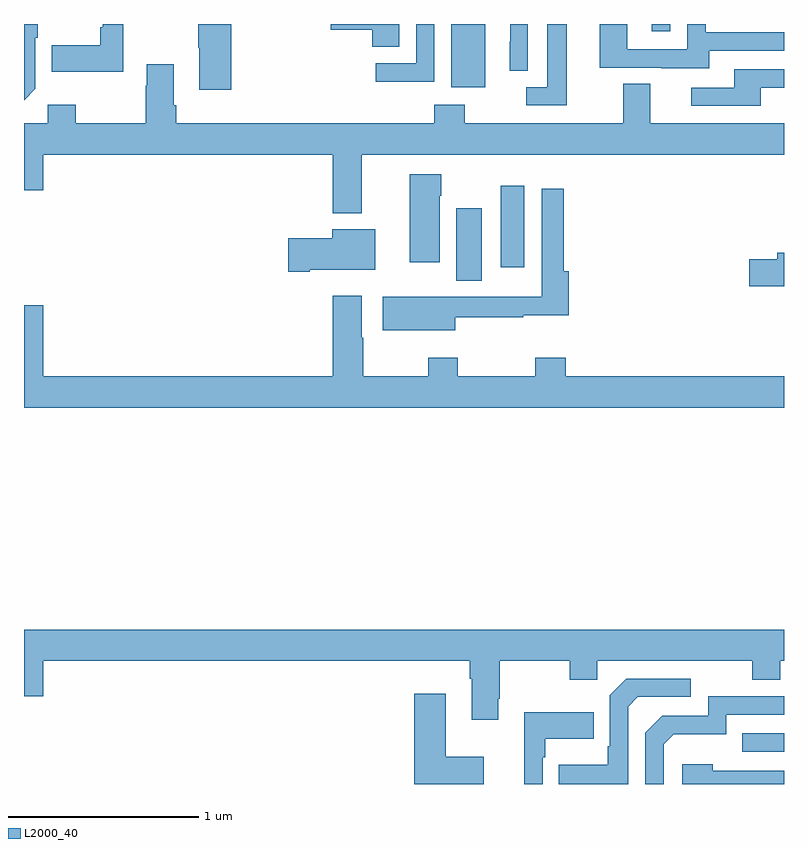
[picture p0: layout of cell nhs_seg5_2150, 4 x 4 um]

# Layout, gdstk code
import gdstk
lib = gdstk.Library(unit=1e-6, precision=1e-09)
def R(c, l, rs):  # rectangles x0, y0, x1, y1
    for r in rs: c.add(gdstk.rectangle(r[:2], r[2:], *l))
def P(c, l, *ps):  # polygons
    for p in ps: c.add(gdstk.Polygon(p, *l))
L2000_40 = (2000, 40)

nhs_seg5_2150 = lib.new_cell('nhs_seg5_2150')
R(nhs_seg5_2150, L2000_40, [(240.781,834.969,241,835.065), (239.276,837.448,239.41,837.829), (239.51,837.519,239.632,837.949), (239.249,838.466,239.428,838.799), (240.305,838.761,240.402,838.799)])
P(nhs_seg5_2150, L2000_40, [(240.607,838.659),(241,838.659),(241,838.755),(240.588,838.755),(240.588,838.799),(240.492,838.799),(240.492,838.665),(240.174,838.665),(240.174,838.799),(240.029,838.799),(240.029,838.569),(240.353,838.569),(240.353,838.565),(240.607,838.565)],
  [(237.06,838.458),(237.06,838.727),(237.073,838.727),(237.073,838.799),(237,838.799),(237,838.398)],
  [(238.091,838.799),(237.916,838.799),(237.916,838.675),(237.923,838.675),(237.923,838.452),(238.091,838.452)],
  [(237.523,838.799),(237.414,838.799),(237.414,838.783),(237.402,838.783),(237.402,838.687),(237.145,838.687),(237.145,838.547),(237.523,838.547)],
  [(239.857,838.799),(239.753,838.799),(239.753,838.467),(239.643,838.467),(239.643,838.371),(239.857,838.371)],
  [(239.652,838.799),(239.558,838.799),(239.558,838.706),(239.556,838.706),(239.556,838.552),(239.652,838.552)],
  [(239.16,838.799),(239.064,838.799),(239.064,838.593),(238.851,838.593),(238.851,838.495),(239.16,838.495)],
  [(238.975,838.799),(238.614,838.799),(238.614,838.769),(238.832,838.769),(238.832,838.678),(238.975,838.678)],
  [(238.777,838.112),(241,838.112),(241,838.276),(240.295,838.276),(240.295,838.484),(240.155,838.484),(240.155,838.276),(239.319,838.276),(239.319,838.375),(239.159,838.375),(239.159,838.276),(237.8,838.276),(237.8,838.372),(237.787,838.372),(237.787,838.588),(237.647,838.588),(237.647,838.475),(237.64,838.475),(237.64,838.276),(237.273,838.276),(237.273,838.375),(237.126,838.375),(237.126,838.276),(237,838.276),(237,837.924),(237.1,837.924),(237.1,838.112),(238.625,838.112),(238.625,837.803),(238.777,837.803)],
  [(240.877,838.464),(241,838.464),(241,838.56),(240.737,838.56),(240.737,838.464),(240.513,838.464),(240.513,838.368),(240.877,838.368)],
  [(239.188,837.896),(239.196,837.896),(239.196,838.009),(239.03,838.009),(239.03,837.546),(239.188,837.546)],
  [(239.269,837.255),(239.627,837.255),(239.627,837.265),(239.867,837.265),(239.867,837.499),(239.84,837.499),(239.84,837.931),(239.724,837.931),(239.724,837.364),(239.514,837.364),(239.514,837.363),(239.165,837.363),(239.165,837.364),(238.889,837.364),(238.889,837.188),(239.269,837.188)],
  [(238.504,837.506),(238.849,837.506),(238.849,837.718),(238.622,837.718),(238.622,837.672),(238.392,837.672),(238.392,837.494),(238.504,837.494)],
  [(241,837.596),(240.965,837.596),(240.965,837.56),(240.816,837.56),(240.816,837.418),(241,837.418)],
  [(241,836.944),(239.852,836.944),(239.852,837.043),(239.692,837.043),(239.692,836.944),(239.283,836.944),(239.283,837.043),(239.128,837.043),(239.128,836.944),(238.785,836.944),(238.785,837.149),(238.777,837.149),(238.777,837.37),(238.625,837.37),(238.625,836.944),(237.1,836.944),(237.1,837.319),(237,837.319),(237,836.78),(241,836.78)],
  [(239.497,835.249),(239.505,835.249),(239.505,835.448),(239.872,835.448),(239.872,835.349),(240.018,835.349),(240.018,835.448),(240.832,835.448),(240.832,835.349),(240.979,835.349),(240.979,835.448),(241,835.448),(241,835.612),(237,835.612),(237,835.26),(237.1,835.26),(237.1,835.448),(239.345,835.448),(239.345,835.352),(239.357,835.352),(239.357,835.137),(239.497,835.137)],
  [(240.18,835.206),(240.231,835.257),(240.508,835.257),(240.508,835.353),(240.171,835.353),(240.084,835.266),(240.084,834.997),(240.072,834.997),(240.072,834.901),(239.815,834.901),(239.815,834.799),(240.18,834.799)],
  [(239.419,834.943),(239.221,834.943),(239.221,835.273),(239.054,835.273),(239.054,834.799),(239.419,834.799)],
  [(240.366,835.008),(240.419,835.061),(240.696,835.061),(240.696,835.164),(241,835.164),(241,835.26),(240.6,835.26),(240.6,835.158),(240.36,835.158),(240.27,835.068),(240.27,834.799),(240.366,834.799)],
  [(239.73,834.941),(239.743,834.941),(239.743,835.037),(239.999,835.037),(239.999,835.177),(239.633,835.177),(239.633,834.799),(239.73,834.799)],
  [(241,834.87),(240.626,834.87),(240.626,834.904),(240.465,834.904),(240.465,834.799),(241,834.799)])

lib.write_gds('nhs_seg5_2150.gds')
